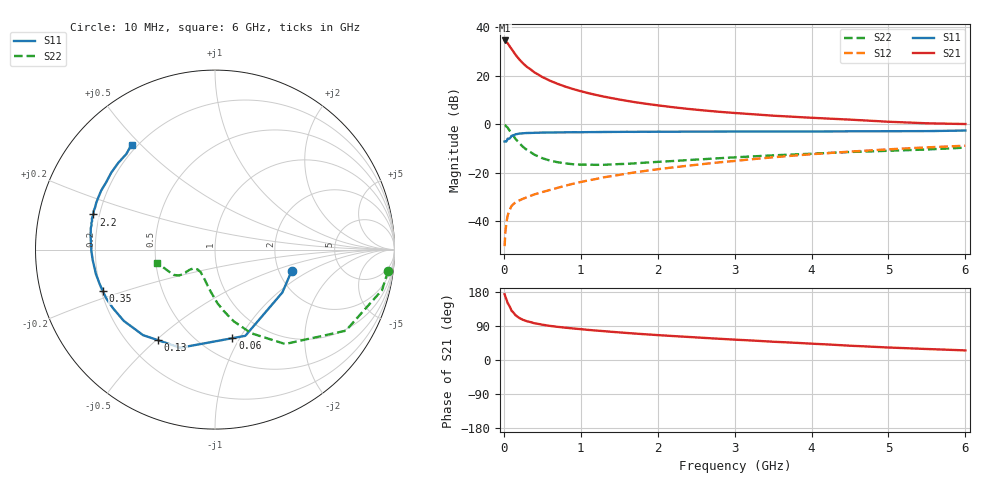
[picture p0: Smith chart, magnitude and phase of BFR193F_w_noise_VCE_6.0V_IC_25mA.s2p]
! Infineon Technologies  Discrete & RF Semiconductors
! BFR193F
! VCE =  6.0 V,  IC =  25 mA
! Common Emitter S-Parameters:  Jan 2017
# GHz  S  MA  R  50
!  f  S11  S21  S12  S22
! GHz  MAG  ANG  MAG  ANG  MAG  ANG  MAG  ANG
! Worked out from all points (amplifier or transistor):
!   77 points, 10 MHz to 6 GHz, reference 50 ohm
!   highest |S21| = 34.6 dB at 10 MHz (marker M1)
!   |S21| within 3 dB of that: start of sweep to 88.47 MHz
!   unconditionally stable (mu >= 1): 1.164 GHz to 2.688 GHz
!   at 130 MHz: K = 0.33, MSG = 31.2 dB, |S12| = -32.7 dB
!   at 2.2 GHz: K = 1.02, MAG = 11.5 dB, |S12| = -17.7 dB
!   at 6 GHz: K = 0.85, MSG = 4.5 dB, |S12| = -8.8 dB
!   lowest NFmin = 1.11 dB at 450 MHz
!   S11 on the Smith chart (normalised r, x): 10 MHz: 2.34, -0.70; 60 MHz: 0.71, -0.93; 130 MHz: 0.32, -0.51; 350 MHz: 0.21, -0.17; 2.2 GHz: 0.18, +0.14; 6 GHz: 0.18, +0.47
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0.01  0.443 -15.8  53.5 173.5  0.0031 84.2  0.9718 -6.9
0.02  0.4449 -32.5  52.03 166.8  0.0061 79.7  0.9577 -13.6
0.05  0.5092 -70.6  46.86 150.0  0.0133 67.0  0.8575 -31.8
0.06  0.503 -78.9  44.28 146.8  0.0147 63.5  0.8093 -35.2
0.1  0.5802 -109.5  35.78 130.1  0.0209 54.5  0.6554 -53.4
0.13  0.5966 -122.2  30.62 123.9  0.0232 51.3  0.5629 -60.5
0.15  0.6229 -130.1  27.45 118.5  0.0247 49.5  0.5075 -66.6
0.2  0.645 -142.0  21.89 111.0  0.0271 47.6  0.4127 -75.4
0.25  0.6556 -150.2  18 105.9  0.0294 47.8  0.3426 -82.2
0.3  0.6641 -155.8  15.3 102.3  0.0316 49.1  0.2982 -87.5
0.35  0.6659 -159.6  13.48 99.9  0.0339 50.6  0.2666 -91.1
0.4  0.6705 -163.3  11.7 96.8  0.0362 52.0  0.2363 -95.7
0.5  0.6771 -168.3  9.453 93.2  0.0403 55.3  0.2013 -102.4
0.6  0.6795 -171.8  7.931 90.0  0.0446 57.5  0.1792 -108.0
0.8  0.6859 -177.3  5.984 85.3  0.0546 61.7  0.1568 -117.6
1.1  0.6925 176.9  4.389 79.4  0.0701 66.3  0.148 -127.0
2.1  0.7063 164.9  2.359 64.5  0.1244 70.6  0.1724 -140.7
2.2  0.7056 163.9  2.252 63.2  0.1299 70.7  0.1759 -140.9
3.1  0.712 156.0  1.674 52.7  0.1831 70.5  0.2134 -142.1
4.1  0.714 147.1  1.344 42.1  0.249 67.5  0.2526 -145.4
5.1  0.7239 137.0  1.116 32.2  0.3121 62.3  0.2891 -156.2
6  0.7471 128.4  1.016 25.3  0.3637 57.2  0.332 -167.1
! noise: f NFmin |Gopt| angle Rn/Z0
0.45  1.11  0.36  173  0.06
0.9  1.19  0.41  174  0.06
1.9  1.77  0.57  -169  0.07
2.4  2.06  0.61  -160  0.11
